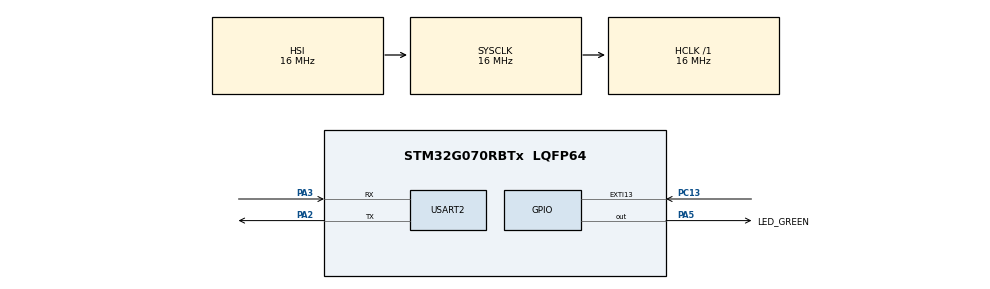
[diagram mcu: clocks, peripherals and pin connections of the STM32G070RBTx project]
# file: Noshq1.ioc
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Mcu.Family=STM32G0
Mcu.Name=STM32G070RBTx
Mcu.Package=LQFP64
NVIC.TIM3_IRQn=true\:0\:0\:false\:false\:true\:true\:true\:true
PA13.GPIO_Label=TMS
PA13.Mode=Serial_Wire
PA13.Signal=SYS_SWDIO
PA14-BOOT0.GPIO_Label=TCK
PA14-BOOT0.Mode=Serial_Wire
PA14-BOOT0.Signal=SYS_SWCLK
PA2.GPIO_PuPd=GPIO_PULLUP
PA2.Mode=Asynchronous
PA2.Signal=USART2_TX
PA3.GPIO_PuPd=GPIO_PULLUP
PA3.Mode=Asynchronous
PA3.Signal=USART2_RX
PA5.GPIO_Label=LED_GREEN
PA5.GPIO_Speed=GPIO_SPEED_FREQ_HIGH
PA5.Signal=GPIO_Output
PC13.Signal=GPXTI13
PC14-OSC32_IN\ (PC14).Mode=LSE-External-Oscillator
PC14-OSC32_IN\ (PC14).Signal=RCC_OSC32_IN
PC15-OSC32_OUT\ (PC15).Mode=LSE-External-Oscillator
PC15-OSC32_OUT\ (PC15).Signal=RCC_OSC32_OUT
PF0-OSC_IN\ (PF0).GPIO_Label=MCO
PF0-OSC_IN\ (PF0).Mode=HSE-External-Clock-Source
PF0-OSC_IN\ (PF0).Signal=RCC_OSC_IN
ProjectManager.HeapSize=0x200
ProjectManager.StackSize=0x400
ProjectManager.TargetToolchain=STM32CubeIDE
RCC.AHBFreq_Value=16000000
RCC.CortexFreq_Value=16000000
RCC.EXTERNAL_CLOCK_VALUE=12288000
RCC.HCLKFreq_Value=16000000
RCC.HSE_VALUE=8000000
RCC.HSI_VALUE=16000000
RCC.SYSCLKFreq_VALUE=16000000
RCC.VCOOutputFreq_Value=128000000
TIM3.Period=249
TIM3.Prescaler=15999
USART2.VirtualMode-Asynchronous=VM_ASYNC
USART2.WordLength=WORDLENGTH_7B
VP_TIM3_VS_ClockSourceINT.Mode=Internal
board=NUCLEO-G070RB

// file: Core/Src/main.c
/* USER CODE BEGIN Header */
/**
  ******************************************************************************
  * @file           : main.c
  * @brief          : Main program body
  ******************************************************************************
  * @attention
  *
  * Copyright (c) 2026 STMicroelectronics.
  * All rights reserved.
  *
  * This software is licensed under terms that can be found in the LICENSE file
  * in the root directory of this software component.
  * If no LICENSE file comes with this software, it is provided AS-IS.
  *
  ******************************************************************************
  */
/* USER CODE END Header */
#include "main.h"

TIM_HandleTypeDef htim3;

UART_HandleTypeDef huart2;

/* USER CODE BEGIN PV */

volatile uint8_t mode = 0;

uint16_t timer_period[3] =
{
    999,   //0.5 Hz
    499,   //1 Hz
    249    //2 Hz
};

/* USER CODE END PV */

void SystemClock_Config(void);
static void MX_GPIO_Init(void);
static void MX_TIM3_Init(void);
static void MX_USART2_UART_Init(void);

int main(void)
{

  /* MCU Configuration--------------------------------------------------------*/

  /* Reset of all peripherals, Initializes the Flash interface and the Systick. */
  HAL_Init();

  /* Configure the system clock */
  SystemClock_Config();

  /* Initialize all configured peripherals */
  MX_GPIO_Init();
  MX_TIM3_Init();
  MX_USART2_UART_Init();
  /* USER CODE BEGIN 2 */

  HAL_TIM_Base_Start_IT(&htim3);

  HAL_NVIC_SetPriority(TIM3_IRQn,1,0);
  HAL_NVIC_EnableIRQ(TIM3_IRQn);

  HAL_NVIC_SetPriority(EXTI4_15_IRQn,0,0);
  HAL_NVIC_EnableIRQ(EXTI4_15_IRQn);

  HAL_GPIO_WritePin(LED_GREEN_GPIO_Port,
                    LED_GREEN_Pin,
                    GPIO_PIN_RESET);

  /* USER CODE END 2 */

  /* Infinite loop */
  /* USER CODE BEGIN WHILE */
  while (1)

  {
      HAL_PWR_EnterSLEEPMode(PWR_MAINREGULATOR_ON,
                             PWR_SLEEPENTRY_WFI);
  }
    /* USER CODE END WHILE */

}

void SystemClock_Config(void)
{
  RCC_OscInitTypeDef RCC_OscInitStruct = {0};
  RCC_ClkInitTypeDef RCC_ClkInitStruct = {0};

  /** Configure the main internal regulator output voltage
  */
  HAL_PWREx_ControlVoltageScaling(PWR_REGULATOR_VOLTAGE_SCALE1);

  /** Initializes the RCC Oscillators according to the specified parameters
  * in the RCC_OscInitTypeDef structure.
  */
  RCC_OscInitStruct.OscillatorType = RCC_OSCILLATORTYPE_HSI;
  RCC_OscInitStruct.HSIState = RCC_HSI_ON;
  RCC_OscInitStruct.HSIDiv = RCC_HSI_DIV1;
  RCC_OscInitStruct.HSICalibrationValue = RCC_HSICALIBRATION_DEFAULT;
  RCC_OscInitStruct.PLL.PLLState = RCC_PLL_NONE;
  if (HAL_RCC_OscConfig(&RCC_OscInitStruct) != HAL_OK)
  {
    Error_Handler();
  }

  /** Initializes the CPU, AHB and APB buses clocks
  */
  RCC_ClkInitStruct.ClockType = RCC_CLOCKTYPE_HCLK|RCC_CLOCKTYPE_SYSCLK
                              |RCC_CLOCKTYPE_PCLK1;
  RCC_ClkInitStruct.SYSCLKSource = RCC_SYSCLKSOURCE_HSI;
  RCC_ClkInitStruct.AHBCLKDivider = RCC_SYSCLK_DIV1;
  RCC_ClkInitStruct.APB1CLKDivider = RCC_HCLK_DIV1;

  if (HAL_RCC_ClockConfig(&RCC_ClkInitStruct, FLASH_LATENCY_0) != HAL_OK)
  {
    Error_Handler();
  }
}

static void MX_TIM3_Init(void)
{

  TIM_ClockConfigTypeDef sClockSourceConfig = {0};
  TIM_MasterConfigTypeDef sMasterConfig = {0};

  htim3.Instance = TIM3;
  htim3.Init.Prescaler = 15999;
  htim3.Init.CounterMode = TIM_COUNTERMODE_UP;
  htim3.Init.Period = 249;
  htim3.Init.ClockDivision = TIM_CLOCKDIVISION_DIV1;
  htim3.Init.AutoReloadPreload = TIM_AUTORELOAD_PRELOAD_DISABLE;
  if (HAL_TIM_Base_Init(&htim3) != HAL_OK)
  {
    Error_Handler();
  }
  sClockSourceConfig.ClockSource = TIM_CLOCKSOURCE_INTERNAL;
  if (HAL_TIM_ConfigClockSource(&htim3, &sClockSourceConfig) != HAL_OK)
  {
    Error_Handler();
  }
  sMasterConfig.MasterOutputTrigger = TIM_TRGO_RESET;
  sMasterConfig.MasterSlaveMode = TIM_MASTERSLAVEMODE_DISABLE;
  if (HAL_TIMEx_MasterConfigSynchronization(&htim3, &sMasterConfig) != HAL_OK)
  {
    Error_Handler();
  }

}

static void MX_USART2_UART_Init(void)
{

  huart2.Instance = USART2;
  huart2.Init.BaudRate = 115200;
  huart2.Init.WordLength = UART_WORDLENGTH_7B;
  huart2.Init.StopBits = UART_STOPBITS_1;
  huart2.Init.Parity = UART_PARITY_NONE;
  huart2.Init.Mode = UART_MODE_TX_RX;
  huart2.Init.HwFlowCtl = UART_HWCONTROL_NONE;
  huart2.Init.OverSampling = UART_OVERSAMPLING_16;
  huart2.Init.OneBitSampling = UART_ONE_BIT_SAMPLE_DISABLE;
  huart2.Init.ClockPrescaler = UART_PRESCALER_DIV1;
  huart2.AdvancedInit.AdvFeatureInit = UART_ADVFEATURE_NO_INIT;
  if (HAL_UART_Init(&huart2) != HAL_OK)
  {
    Error_Handler();
  }
  if (HAL_UARTEx_SetTxFifoThreshold(&huart2, UART_TXFIFO_THRESHOLD_1_8) != HAL_OK)
  {
    Error_Handler();
  }
  if (HAL_UARTEx_SetRxFifoThreshold(&huart2, UART_RXFIFO_THRESHOLD_1_8) != HAL_OK)
  {
    Error_Handler();
  }
  if (HAL_UARTEx_DisableFifoMode(&huart2) != HAL_OK)
  {
    Error_Handler();
  }

}

static void MX_GPIO_Init(void)
{
  GPIO_InitTypeDef GPIO_InitStruct = {0};

  /* GPIO Ports Clock Enable */
  __HAL_RCC_GPIOC_CLK_ENABLE();
  __HAL_RCC_GPIOF_CLK_ENABLE();
  __HAL_RCC_GPIOA_CLK_ENABLE();

  /*Configure GPIO pin Output Level */
  HAL_GPIO_WritePin(LED_GREEN_GPIO_Port, LED_GREEN_Pin, GPIO_PIN_RESET);

  /*Configure GPIO pin : PC13 */
  GPIO_InitStruct.Pin = GPIO_PIN_13;
  GPIO_InitStruct.Mode = GPIO_MODE_IT_RISING;
  GPIO_InitStruct.Pull = GPIO_NOPULL;
  HAL_GPIO_Init(GPIOC, &GPIO_InitStruct);

  /*Configure GPIO pin : LED_GREEN_Pin */
  GPIO_InitStruct.Pin = LED_GREEN_Pin;
  GPIO_InitStruct.Mode = GPIO_MODE_OUTPUT_PP;
  GPIO_InitStruct.Pull = GPIO_NOPULL;
  GPIO_InitStruct.Speed = GPIO_SPEED_FREQ_HIGH;
  HAL_GPIO_Init(LED_GREEN_GPIO_Port, &GPIO_InitStruct);

}

/* USER CODE BEGIN 4 */

void HAL_GPIO_EXTI_Rising_Callback(uint16_t GPIO_Pin)
{
    if(GPIO_Pin == GPIO_PIN_13)
    {
        HAL_Delay(30);

        mode++;

        if(mode > 4)
            mode = 1;

        if(mode == 4)
        {
            HAL_TIM_Base_Stop_IT(&htim3);

            HAL_GPIO_WritePin(LED_GREEN_GPIO_Port,
                              LED_GREEN_Pin,
                              GPIO_PIN_RESET);
        }
        else
        {
            __HAL_TIM_SET_AUTORELOAD(&htim3,
                                     timer_period[mode-1]);

            __HAL_TIM_SET_COUNTER(&htim3,0);

            HAL_TIM_Base_Start_IT(&htim3);
        }
    }
}

void HAL_TIM_PeriodElapsedCallback(TIM_HandleTypeDef *htim)
{
    if(htim->Instance == TIM3)
    {
        HAL_GPIO_TogglePin(LED_GREEN_GPIO_Port,
                           LED_GREEN_Pin);
    }
}

/* USER CODE END 4 */

void Error_Handler(void)
{
  __disable_irq();
  while (1)
  {
  }
}
